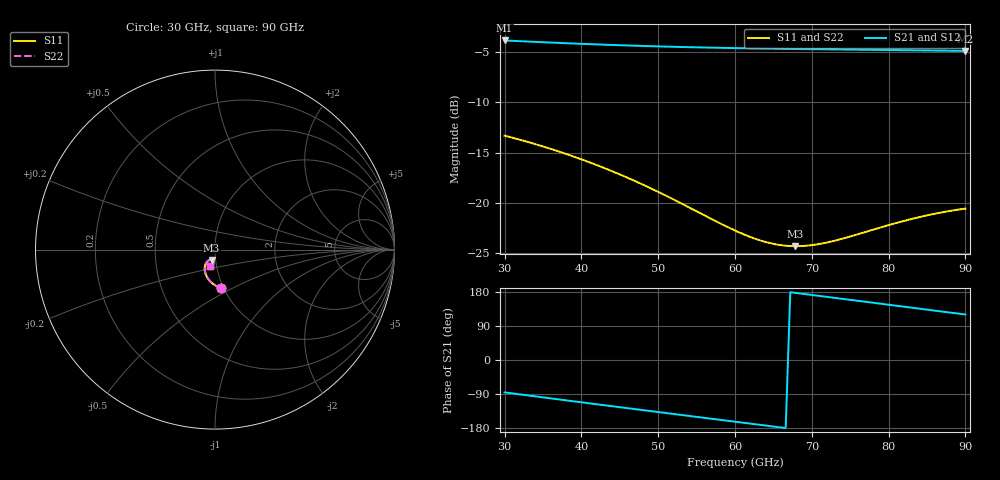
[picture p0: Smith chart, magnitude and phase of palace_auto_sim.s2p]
#  GHZ S DB R 50
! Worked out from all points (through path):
!   101 points, 30 GHz to 90 GHz, reference 50 ohm
!   highest |S21| = -3.81 dB at 30 GHz (marker M1); lowest = -4.9 dB at 90 GHz (marker M2)
!   group delay of S21, straight-line fit = 7.13 ps
!   lowest |S11| = -24.3 dB at 67.8 GHz (marker M3), VSWR 1.13, Z = 47.8 - j5.54 ohm
!   |S11| at or under -10 dB: start of sweep to end of sweep
!   |S22| runs from -24.3 to -13.3 dB; largest |S21 - S12| = 6.6e-14
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30  -13.32 -81.7  -3.81 -85.4  -3.81 -85.4  -13.31 -81.7
32.4  -13.81 -87.5  -3.90 -91.8  -3.90 -91.8  -13.81 -87.5
34.8  -14.35 -93.1  -3.98 -98.1  -3.98 -98.1  -14.35 -93.1
37.2  -14.93 -98.4  -4.06 -104.4  -4.06 -104.4  -14.93 -98.4
40.2  -15.73 -104.6  -4.15 -112.2  -4.15 -112.2  -15.73 -104.6
45  -17.18 -113.4  -4.29 -124.5  -4.29 -124.5  -17.19 -113.3
48  -18.20 -117.8  -4.36 -132.2  -4.36 -132.2  -18.20 -117.7
50.4  -19.07 -120.6  -4.41 -138.3  -4.41 -138.3  -19.08 -120.5
55.2  -20.94 -123.5  -4.50 -150.6  -4.50 -150.6  -20.95 -123.4
57.6  -21.89 -123.3  -4.54 -156.7  -4.54 -156.7  -21.90 -123.0
60  -22.78 -121.6  -4.58 -162.8  -4.58 -162.8  -22.79 -121.3
62.4  -23.54 -118.5  -4.61 -168.9  -4.61 -168.9  -23.54 -118.1
64.2  -23.97 -115.3  -4.63 -173.5  -4.63 -173.5  -23.97 -114.9
66  -24.24 -111.8  -4.65 -178.1  -4.65 -178.1  -24.23 -111.3
67.8  -24.34 -108.1  -4.66 177.3  -4.66 177.3  -24.32 -107.5
70.2  -24.22 -103.6  -4.69 171.1  -4.69 171.1  -24.18 -103.0
72.6  -23.87 -100.1  -4.71 164.9  -4.71 164.9  -23.81 -99.6
75  -23.38 -98.0  -4.73 158.8  -4.73 158.8  -23.31 -97.5
77.4  -22.83 -97.2  -4.75 152.6  -4.75 152.6  -22.75 -96.7
80.4  -22.16 -97.8  -4.77 144.8  -4.77 144.8  -22.07 -97.3
85.2  -21.24 -101.5  -4.81 132.4  -4.81 132.4  -21.14 -101.1
90  -20.59 -107.3  -4.85 120.0  -4.85 120.0  -20.48 -106.9
